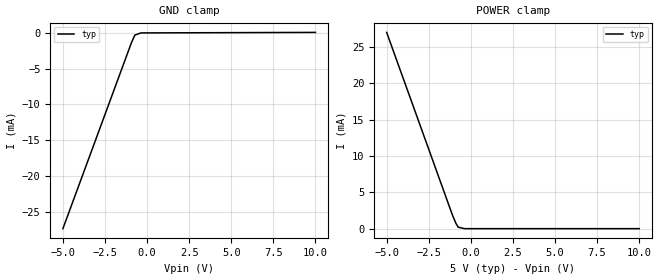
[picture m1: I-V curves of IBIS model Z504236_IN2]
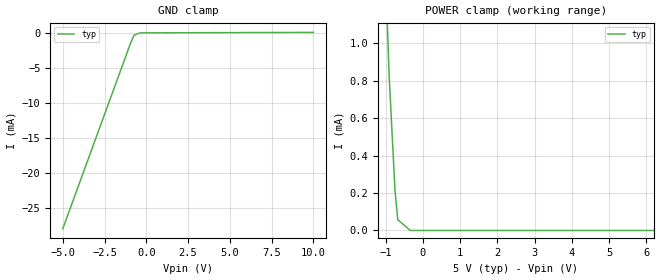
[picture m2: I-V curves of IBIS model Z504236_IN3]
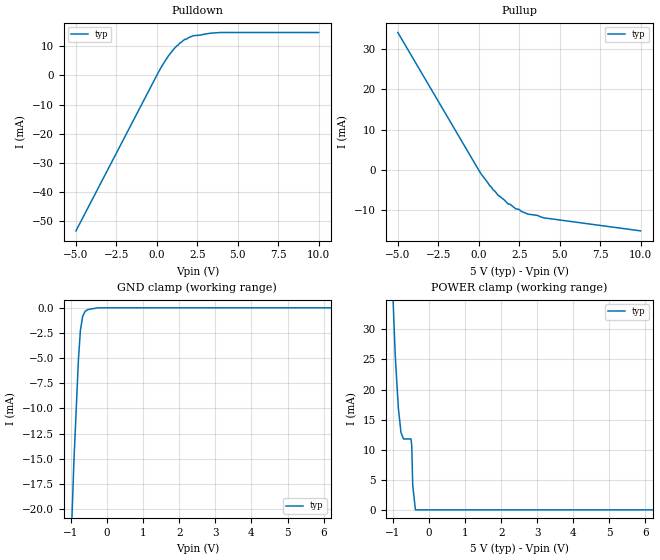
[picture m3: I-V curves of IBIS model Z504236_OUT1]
| YOU ARE ONLY AUTHORIZED TO USE THIS SOFTWARE
| ACCORDING TO LICENSOR'S LICENSE RESTRICTIONS.
[IBIS Ver] 3.1
[File Name] mc74hc4060ad.ibs
[File Rev] 2.0
[Source] Measured and created by ICX Technology
[Date] Friday 7/14/00 9:08:10 AM
[Copyright]
| (C) COPYRIGHT 1993-2000
| MENTOR GRAPHICS CORPORATION
| ICX STANDARD LIBRARY, ICX PROJECT MODELING,
| ICX CUSTOM MODELING, ICX VENDOR MODEL
| ALL RIGHTS RESERVED.
| THE FOLLOWING ARE TRADEMARKS OR SERVICE MARKS OF
| MENTOR GRAPHICS CORPORATION:ICX (R), ICX STANDARD
| LIBRARY(R), ICX PROJECT MODELING(R), ICX CUSTOM
| MODELING(R), qualityIBIS(TM), MODELVIEWER(TM),
| AND MODELEDITOR(TM)
| ALL COPIES OF SOFTWARE, INCLUDING BUT NOT LIMITED TO
| ANY MODIFICATIONS, ENHANCEMENTS OR DERIVATIVE WORKS,
| MUST CONTAIN ALL MENTOR GRAPHICS CORPORATION'S
| NOTICES AND LEGENDS, INCLUDING THOSE EMBEDDED IN
| SOFTWARE AND THOSE AFFIXED TO SOFTWARE MEDIUM
| AND CONTAINER, AS RECEIVED FROM MENTOR GRAPHICS
| CORPORATION.
|  ZAP Model Builder 2.7
[Component] MC74HC4060AD
[Manufacturer] OnSemiconductor
[Package]
| variable   typ   min   max
R_pkg  .156ohms NA NA
L_pkg  3.148nH NA NA
C_pkg  .388pF NA NA
[Pin] signal_name  model_name  R_pin  L_pin C_pin
1 Q12 Z504236_OUT1 .162 3.798n .418p
2 Q13 Z504236_OUT1 .158 3.358n .398p
3 Q14 Z504236_OUT1 .154 2.928n .378p
4 Q6 Z504236_OUT1 .15 2.508n .358p
5 Q5 Z504236_OUT1 .15 2.508n .358p
6 Q7 Z504236_OUT1 .154 2.928n .378p
7 Q4 Z504236_OUT1 .158 3.358n .398p
8 GND GND .162 3.798n .418p
9 OSCO2 Z504236_OUT1 .162 3.798n .418p
10 OSCO1 Z504236_OUT1 .158 3.358n .398p
11 OSCIN Z504236_IN2 .154 2.928n .378p
12 RESET Z504236_IN3 .15 2.508n .358p
13 Q9 Z504236_OUT1 .15 2.508n .358p
14 Q8 Z504236_OUT1 .154 2.928n .378p
15 Q10 Z504236_OUT1 .158 3.358n .398p
16 VCC POWER .162 3.798n .418p
| Models and submodels in the file (3): Z504236_IN2 (Input), Z504236_IN3 (Input), Z504236_OUT1 (Output)
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| (C) COPYRIGHT 1993-2000
| MENTOR GRAPHICS CORPORATION
| ICX STANDARD LIBRARY, ICX PROJECT MODELING,
| ICX CUSTOM MODELING, ICX VENDOR MODEL
| ALL RIGHTS RESERVED.
| THE FOLLOWING ARE TRADEMARKS OR SERVICE MARKS OF
| MENTOR GRAPHICS CORPORATION:ICX (R), ICX STANDARD
| LIBRARY(R), ICX PROJECT MODELING(R), ICX CUSTOM
| MODELING(R), qualityIBIS(TM), MODELVIEWER(TM),
| AND MODELEDITOR(TM)
| ALL COPIES OF SOFTWARE, INCLUDING BUT NOT LIMITED TO
| ANY MODIFICATIONS, ENHANCEMENTS OR DERIVATIVE WORKS,
| MUST CONTAIN ALL MENTOR GRAPHICS CORPORATION'S
| NOTICES AND LEGENDS, INCLUDING THOSE EMBEDDED IN
| SOFTWARE AND THOSE AFFIXED TO SOFTWARE MEDIUM
| AND CONTAINER, AS RECEIVED FROM MENTOR GRAPHICS
| CORPORATION.
| Model Application Version 1.89 2/18/99.
[Model] Z504236_IN2
Model_type Input
Vinl = 900.0mV
Vinh = 3.150V
C_comp 4.000pF NA NA
| variable typ   min   max
[Voltage Range] 5.000V NA NA
[GND Clamp Reference] 0.000V NA NA
[POWER Clamp Reference] 5.000V NA NA
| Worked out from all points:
|   GND clamp passes 1 mA (typ) near -0.85 V on its own axis
|   POWER clamp passes 1 mA (typ) near -0.93 V on its own axis
[GND Clamp]
-5V       -27.33mA   NA         NA
-936.7mV  -1.437mA   NA         NA
-727.6mV  -329uA     NA         NA
-363.8mV  -25.89uA   NA         NA
10V       46uA       NA         NA
[POWER Clamp]
-5V       26.99mA    NA         NA
-1.093V   1.872mA    NA         NA
-884mV    722.4uA    NA         NA
-748mV    201.2uA    NA         NA
-374mV    0A         NA         NA
10V       0A         NA         NA
| (C) COPYRIGHT 1993-2000
| MENTOR GRAPHICS CORPORATION
| ICX STANDARD LIBRARY, ICX PROJECT MODELING,
| ICX CUSTOM MODELING, ICX VENDOR MODEL
| ALL RIGHTS RESERVED.
| THE FOLLOWING ARE TRADEMARKS OR SERVICE MARKS OF
| MENTOR GRAPHICS CORPORATION:ICX (R), ICX STANDARD
| LIBRARY(R), ICX PROJECT MODELING(R), ICX CUSTOM
| MODELING(R), qualityIBIS(TM), MODELVIEWER(TM),
| AND MODELEDITOR(TM)
| ALL COPIES OF SOFTWARE, INCLUDING BUT NOT LIMITED TO
| ANY MODIFICATIONS, ENHANCEMENTS OR DERIVATIVE WORKS,
| MUST CONTAIN ALL MENTOR GRAPHICS CORPORATION'S
| NOTICES AND LEGENDS, INCLUDING THOSE EMBEDDED IN
| SOFTWARE AND THOSE AFFIXED TO SOFTWARE MEDIUM
| AND CONTAINER, AS RECEIVED FROM MENTOR GRAPHICS
| CORPORATION.
| Model Application Version 1.89 2/18/99.
[Model] Z504236_IN3
Model_type Input
Vinl = 900.0mV
Vinh = 3.150V
C_comp 4.000pF NA NA
| variable typ   min   max
[Voltage Range] 5.000V NA NA
[GND Clamp Reference] 0.000V NA NA
[POWER Clamp Reference] 5.000V NA NA
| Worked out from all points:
|   GND clamp passes 1 mA (typ) near -0.85 V on its own axis
|   POWER clamp passes 1 mA (typ) near -0.93 V on its own axis
[GND Clamp]
-5V       -27.88mA   NA         NA
-936.3mV  -1.439mA   NA         NA
-727.6mV  -325.5uA   NA         NA
-363.8mV  -23.29uA   NA         NA
10V       45.01uA    NA         NA
[POWER Clamp]
-5V       27.8mA     NA         NA
-1.093V   1.908mA    NA         NA
-903mV    822uA      NA         NA
-747mV    214.1uA    NA         NA
-672mV    57.3uA     NA         NA
-336mV    0A         NA         NA
10V       0A         NA         NA
| (C) COPYRIGHT 1993-2000
| MENTOR GRAPHICS CORPORATION
| ICX STANDARD LIBRARY, ICX PROJECT MODELING,
| ICX CUSTOM MODELING, ICX VENDOR MODEL
| ALL RIGHTS RESERVED.
| THE FOLLOWING ARE TRADEMARKS OR SERVICE MARKS OF
| MENTOR GRAPHICS CORPORATION:ICX (R), ICX STANDARD
| LIBRARY(R), ICX PROJECT MODELING(R), ICX CUSTOM
| MODELING(R), qualityIBIS(TM), MODELVIEWER(TM),
| AND MODELEDITOR(TM)
| ALL COPIES OF SOFTWARE, INCLUDING BUT NOT LIMITED TO
| ANY MODIFICATIONS, ENHANCEMENTS OR DERIVATIVE WORKS,
| MUST CONTAIN ALL MENTOR GRAPHICS CORPORATION'S
| NOTICES AND LEGENDS, INCLUDING THOSE EMBEDDED IN
| SOFTWARE AND THOSE AFFIXED TO SOFTWARE MEDIUM
| AND CONTAINER, AS RECEIVED FROM MENTOR GRAPHICS
| CORPORATION.
| Model Application Version 1.89 2/18/99.
[Model] Z504236_OUT1
Model_type Output
Vref=0.000V
Rref=500.0Mohms
Cref=50.00pF
Vmeas=2.500V
C_comp 8.000pF NA NA
| variable typ   min   max
[Voltage Range] 5.000V NA NA
[POWER Clamp Reference] 5.000V NA NA
[Pullup Reference] 5.000V NA NA
[Pulldown Reference] 0.000V NA NA
[GND Clamp Reference] 0.000V NA NA
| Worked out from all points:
|   slope of the pulldown table from 0 to 0.75 V, typ, clamps not added: 109 ohm
|   slope of the pullup table from 0 to 0.75 V, typ, clamps not added: 183 ohm
|   GND clamp passes 1 mA (typ) near -0.69 V on its own axis
|   POWER clamp passes 1 mA (typ) near -0.39 V on its own axis
[GND Clamp]
-5V       -1.139A    NA         NA
-1.284V   -65.73mA   NA         NA
-1.151V   -41.88mA   NA         NA
-1.045V   -28.3mA    NA         NA
-922.8mV  -15.44mA   NA         NA
-795.6mV  -5.171mA   NA         NA
-741.7mV  -2.277mA   NA         NA
-678.7mV  -848.9uA   NA         NA
-604.4mV  -318.6uA   NA         NA
-527.2mV  -172.2uA   NA         NA
-263.6mV  0A         NA         NA
10V       0A         NA         NA
[Pulldown]
-5V       -53.33mA   NA         NA
104.9mV   1.2mA      NA         NA
717.7mV   6.746mA    NA         NA
1.055V    9.089mA    NA         NA
1.435V    11.2mA     NA         NA
1.729V    12.38mA    NA         NA
2.25V     13.62mA    NA         NA
3.383V    14.52mA    NA         NA
10V       14.73mA    NA         NA
[Pullup]
-5V       34.04mA    NA         NA
106mV     -739.1uA   NA         NA
918mV     -5.026mA   NA         NA
1.812V    -8.387mA   NA         NA
1.953V    -8.516mA   NA         NA
2.286V    -9.599mA   NA         NA
2.488V    -9.736mA   NA         NA
2.627V    -10.22mA   NA         NA
3.047V    -10.92mA   NA         NA
3.624V    -11.22mA   NA         NA
4.019V    -11.83mA   NA         NA
10V       -15.05mA   NA         NA
[POWER Clamp]
-5V       1.169A     NA         NA
-1.138V   63.22mA    NA         NA
-1.024V   39.34mA    NA         NA
-937mV    25.83mA    NA         NA
-849mV    16.9mA     NA         NA
-776mV    12.83mA    NA         NA
-706.5mV  11.78mA    NA         NA
-498mV    11.78mA    NA         NA
-478mV    10.67mA    NA         NA
-451mV    4.082mA    NA         NA
-375.8mV  0A         NA         NA
10V       0A         NA         NA
[Ramp]
| variable typ min max
dV/dt_r 2.122/3.403n NA NA
dV/dt_f 2.122/2.060n NA NA
R_load = 500.0Ohms
